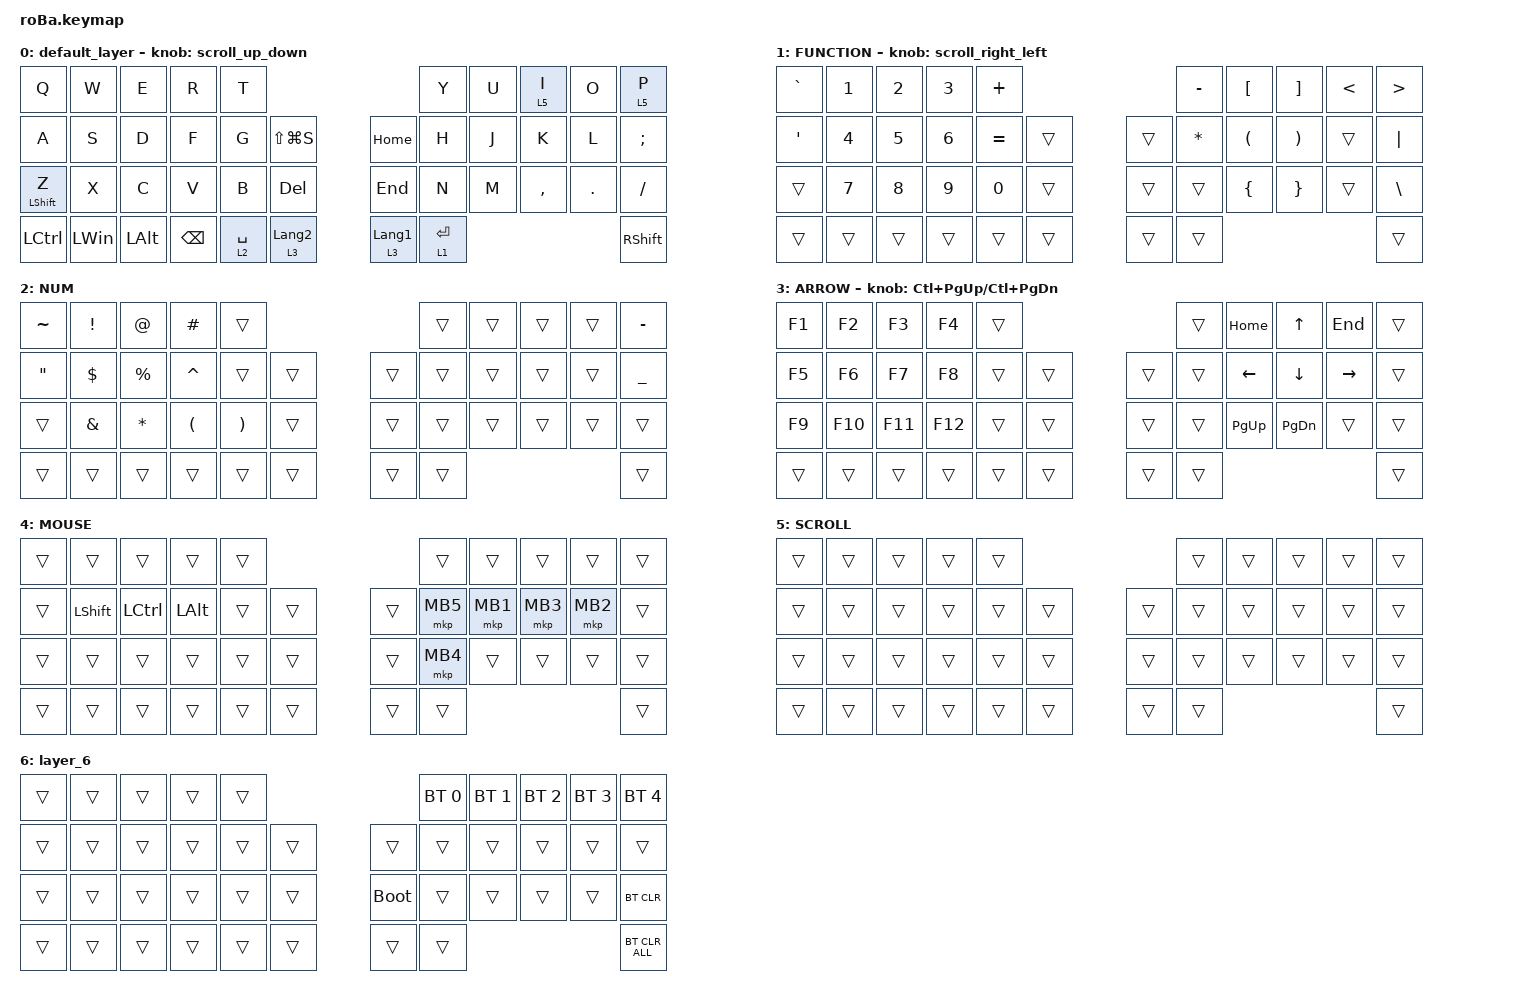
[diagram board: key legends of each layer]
#include <behaviors.dtsi>
#include <dt-bindings/zmk/bt.h>
#include <dt-bindings/zmk/keys.h>
#include <dt-bindings/zmk/pointing.h>

#define ZMK_POINTING_DEFAULT_SCRL_VAL 80

&mt {
    flavor = "balanced";
    quick-tap-ms = <0>;
};

&trackball {
    scroll-layers = <5>;

    // arrows {
    //     layers = <3>;
    //     bindings =
    //         <&kp RIGHT_ARROW>,
    //         <&kp LEFT_ARROW>,
    //         <&kp UP_ARROW>,
    //         <&kp DOWN_ARROW>;
    //     tick = <10>;
    //     wait-ms = <5>;
    //     tap-ms = <5>;
    // };
};

/ {
    combos {
        compatible = "zmk,combos";

        tab {
            bindings = <&kp TAB>;
            key-positions = <11 12>;
        };

        layer6 {
            bindings = <&lt 6 ESCAPE>;
            key-positions = <39 40>;
        };
    };

    macros {
        to_layer_0: to_layer_0 {
            compatible = "zmk,behavior-macro-one-param";
            #binding-cells = <1>;
            bindings = <&to 0 &macro_param_1to1 &kp MACRO_PLACEHOLDER>;
            label = "TO_LAYER_0";
        };
    };

    behaviors {
        scroll_up_down: mouse_wheel_up_down {
            compatible = "zmk,behavior-sensor-rotate";
            #sensor-binding-cells = <0>;
            bindings = <&msc SCRL_DOWN>, <&msc SCRL_UP>;

            tap-ms = <20>;
        };

        scroll_right_left: mouse_wheel_right_left {
            compatible = "zmk,behavior-sensor-rotate";
            #sensor-binding-cells = <0>;
            bindings = <&msc SCRL_LEFT>, <&msc SCRL_RIGHT>;

            tap-ms = <20>;
        };

        lt_to_layer_0: lt_to_layer_0 {
            compatible = "zmk,behavior-hold-tap";
            label = "LAYER_TAP_TO_0";
            bindings = <&mo>, <&to_layer_0>;

            #binding-cells = <2>;
            tapping-term-ms = <200>;
        };
    };

    keymap {
        compatible = "zmk,keymap";

        default_layer {
            bindings = <
&kp Q             &kp W         &kp E         &kp R          &kp T                                                                      &kp Y        &kp U  &lt 5 I    &kp O    &lt 5 P
&kp A             &kp S         &kp D         &kp F          &kp G        &kp LS(LG(S))                    &kp HOME                     &kp H        &kp J  &kp K      &kp L    &kp SEMICOLON
&mt LEFT_SHIFT Z  &kp X         &kp C         &kp V          &kp B        &kp DELETE                       &kp END                      &kp N        &kp M  &kp COMMA  &kp DOT  &kp SLASH
&kp LCTRL         &kp LEFT_WIN  &kp LEFT_ALT  &kp BACKSPACE  &lt 2 SPACE  &lt_to_layer_0 3 LANGUAGE_2      &lt_to_layer_0 3 LANGUAGE_1  &lt 1 ENTER                             &kp RIGHT_SHIFT
            >;

            sensor-bindings = <&scroll_up_down>;
        };

        FUNCTION {
            bindings = <
&kp GRAVE  &kp NUMBER_1  &kp NUMBER_2  &kp NUMBER_3  &kp PLUS                          &kp MINUS     &kp LEFT_BRACKET      &kp RIGHT_BRACKET      &kp LESS_THAN  &kp GREATER_THAN
&kp SQT    &kp NUMBER_4  &kp N5        &kp NUMBER_6  &kp EQUAL     &trans      &trans  &kp ASTERISK  &kp LEFT_PARENTHESIS  &kp RIGHT_PARENTHESIS  &trans         &kp PIPE
&trans     &kp NUMBER_7  &kp NUMBER_8  &kp NUMBER_9  &kp NUMBER_0  &trans      &trans  &trans        &kp LEFT_BRACE        &kp RIGHT_BRACE        &trans         &kp BACKSLASH
&trans     &trans        &trans        &trans        &trans        &trans      &trans  &trans                                                                    &trans
            >;

            sensor-bindings = <&scroll_right_left>;
        };

        NUM {
            bindings = <
&kp TILDE          &kp EXCLAMATION  &kp AT_SIGN   &kp HASH              &trans                                     &trans  &trans  &trans  &trans  &kp MINUS
&kp DOUBLE_QUOTES  &kp DOLLAR       &kp PERCENT   &kp CARET             &trans                 &trans      &trans  &trans  &trans  &trans  &trans  &kp UNDERSCORE
&trans             &kp AMPERSAND    &kp ASTERISK  &kp LEFT_PARENTHESIS  &kp RIGHT_PARENTHESIS  &trans      &trans  &trans  &trans  &trans  &trans  &trans
&trans             &trans           &trans        &trans                &trans                 &trans      &trans  &trans                          &trans
            >;
        };

        ARROW {
            bindings = <
&kp F1  &kp F2   &kp F3   &kp F4   &trans                      &trans  &kp HOME        &kp UP_ARROW    &kp END          &trans
&kp F5  &kp F6   &kp F7   &kp F8   &trans  &trans      &trans  &trans  &kp LEFT_ARROW  &kp DOWN_ARROW  &kp RIGHT_ARROW  &trans
&kp F9  &kp F10  &kp F11  &kp F12  &trans  &trans      &trans  &trans  &kp PAGE_UP     &kp PAGE_DOWN   &trans           &trans
&trans  &trans   &trans   &trans   &trans  &trans      &trans  &trans                                                   &trans
            >;

            sensor-bindings = <&inc_dec_kp LC(PAGE_UP) LC(PAGE_DOWN)>;
        };

        MOUSE {
            bindings = <
&trans  &trans          &trans            &trans        &trans                      &trans    &trans    &trans    &trans    &trans
&trans  &kp LEFT_SHIFT  &kp LEFT_CONTROL  &kp LEFT_ALT  &trans  &trans      &trans  &mkp MB5  &mkp MB1  &mkp MB3  &mkp MB2  &trans
&trans  &trans          &trans            &trans        &trans  &trans      &trans  &mkp MB4  &trans    &trans    &trans    &trans
&trans  &trans          &trans            &trans        &trans  &trans      &trans  &trans                                  &trans
            >;
        };

        SCROLL {
            bindings = <
&trans  &trans  &trans  &trans  &trans                      &trans  &trans  &trans  &trans  &trans
&trans  &trans  &trans  &trans  &trans  &trans      &trans  &trans  &trans  &trans  &trans  &trans
&trans  &trans  &trans  &trans  &trans  &trans      &trans  &trans  &trans  &trans  &trans  &trans
&trans  &trans  &trans  &trans  &trans  &trans      &trans  &trans                          &trans
            >;
        };

        layer_6 {
            bindings = <
&trans  &trans  &trans  &trans  &trans                           &bt BT_SEL 0  &bt BT_SEL 1  &bt BT_SEL 2  &bt BT_SEL 3  &bt BT_SEL 4
&trans  &trans  &trans  &trans  &trans  &trans      &trans       &trans        &trans        &trans        &trans        &trans
&trans  &trans  &trans  &trans  &trans  &trans      &bootloader  &trans        &trans        &trans        &trans        &bt BT_CLR
&trans  &trans  &trans  &trans  &trans  &trans      &trans       &trans                                                  &bt BT_CLR_ALL
            >;
        };
    };
};
